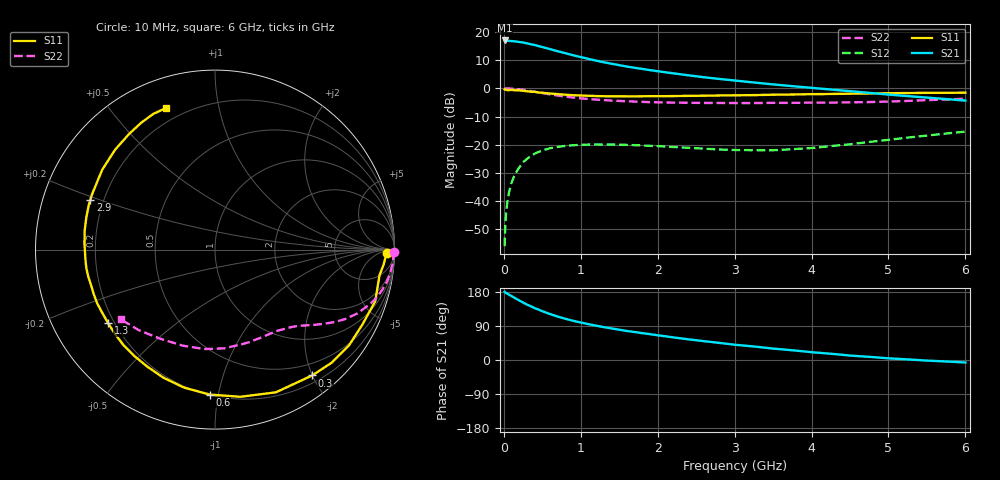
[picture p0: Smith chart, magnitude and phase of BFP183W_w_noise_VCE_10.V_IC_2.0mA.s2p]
! Infineon Technologies  Discrete & RF Semiconductors
! BFP183W
! VCE =  10. V,  IC =  2.0 mA
! Common Emitter S-Parameters:  Jan 2017
# GHz  S  MA  R  50
!  f  S11  S21  S12  S22
! GHz  MAG  ANG  MAG  ANG  MAG  ANG  MAG  ANG
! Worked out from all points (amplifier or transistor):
!   77 points, 10 MHz to 6 GHz, reference 50 ohm
!   highest |S21| = 16.9 dB at 10 MHz (marker M1)
!   |S21| within 3 dB of that: start of sweep to 591.3 MHz
!   unconditionally stable (mu >= 1): 2.835 GHz to 4.658 GHz
!   at 130 MHz: K = 0.05, MSG = 24.0 dB, |S12| = -31.4 dB
!   at 2.2 GHz: K = 0.78, MSG = 13.0 dB, |S12| = -20.8 dB
!   at 6 GHz: K = 0.74, MSG = 5.5 dB, |S12| = -15.4 dB
!   lowest NFmin = 0.76 dB at 450 MHz
!   S11 on the Smith chart (normalised r, x): 10 MHz: 39, -15; 300 MHz: 0.31, -2.00; 600 MHz: 0.20, -0.94; 1.3 GHz: 0.18, -0.30; 2.9 GHz: 0.15, +0.19; 6 GHz: 0.14, +0.71
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0.01  0.9567 -1.0  7.027 180.0  0.0016 92.0  1 -0.7
0.02  0.9436 -5.0  7.026 177.8  0.0041 93.7  0.9906 -1.5
0.03  0.9378 -6.3  6.991 176.7  0.0062 88.6  0.992 -2.2
0.08  0.9311 -14.3  6.882 171.0  0.0169 81.2  0.9895 -5.5
0.15  0.9211 -27.2  6.756 162.9  0.0309 74.5  0.975 -10.4
0.2  0.9176 -35.6  6.605 157.1  0.0396 71.1  0.9587 -13.5
0.3  0.886 -52.3  6.252 146.4  0.0561 60.8  0.9161 -19.3
0.4  0.8645 -66.9  5.841 137.0  0.0696 52.7  0.8699 -24.1
0.5  0.832 -80.3  5.365 128.8  0.0792 45.6  0.8228 -28.0
0.6  0.8081 -92.1  4.939 121.3  0.0868 40.3  0.7808 -31.1
0.7  0.788 -102.6  4.525 114.6  0.0916 35.8  0.7432 -33.6
0.8  0.7695 -111.9  4.177 108.7  0.0954 31.6  0.7124 -35.8
0.9  0.7533 -120.1  3.846 103.5  0.098 27.9  0.6859 -37.8
1.1  0.7365 -134.0  3.315 94.6  0.1008 22.6  0.6466 -40.9
1.3  0.7227 -145.6  2.89 86.7  0.101 18.2  0.617 -43.9
1.6  0.7196 -160.0  2.422 76.6  0.0995 14.2  0.5895 -48.4
2.1  0.7246 -179.0  1.92 62.6  0.0929 11.8  0.5608 -56.5
2.9  0.7477 158.2  1.417 42.8  0.0816 16.8  0.5486 -71.9
3.1  0.7526 153.5  1.33 38.5  0.0804 20.1  0.5474 -76.1
4.1  0.7888 133.3  0.991 19.0  0.0902 38.8  0.5565 -98.6
5.1  0.8198 118.9  0.755 3.3  0.1267 47.6  0.5878 -124.1
6  0.8349 108.9  0.605 -6.6  0.1708 45.9  0.6539 -143.6
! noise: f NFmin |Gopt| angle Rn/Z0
0.45  0.76  0.48  45  0.22
0.9  0.95  0.41  86  0.19
1.9  1.77  0.52  156  0.09
2.4  2.08  0.55  173  0.09
